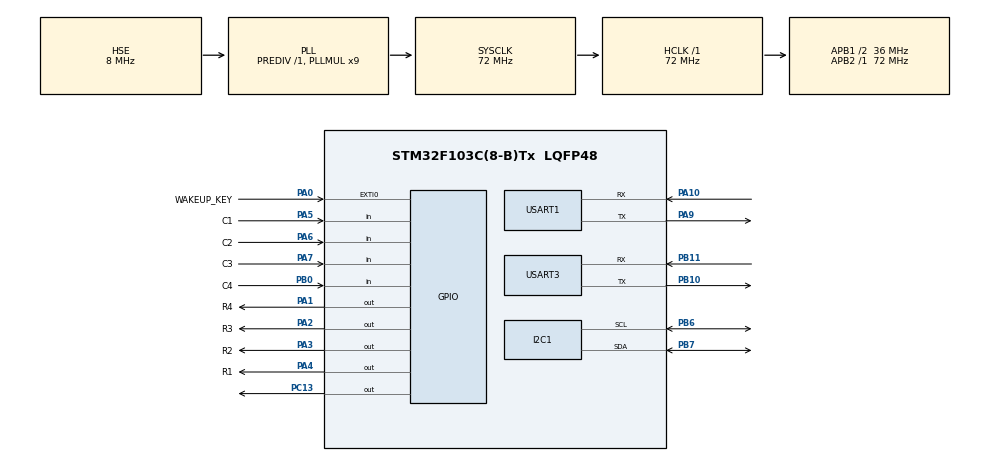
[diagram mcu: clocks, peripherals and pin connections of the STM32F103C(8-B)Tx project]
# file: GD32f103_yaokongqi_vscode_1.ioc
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FREERTOS.Tasks01=defaultTask,24,128,StartDefaultTask,Default,NULL,Dynamic,NULL,NULL
IWDG.Prescaler=IWDG_PRESCALER_32
Mcu.Family=STM32F1
Mcu.Name=STM32F103C(8-B)Tx
Mcu.Package=LQFP48
NVIC.EXTI0_IRQn=true\:5\:0\:false\:false\:true\:true\:true\:true\:true
NVIC.PriorityGroup=NVIC_PRIORITYGROUP_4
NVIC.TIM4_IRQn=true\:15\:0\:false\:false\:true\:false\:false\:true\:true
NVIC.TimeBase=TIM4_IRQn
NVIC.TimeBaseIP=TIM4
PA0-WKUP.GPIO_Label=WAKEUP_KEY
PA0-WKUP.GPIO_PuPd=GPIO_PULLDOWN
PA0-WKUP.Signal=GPXTI0
PA1.GPIO_Label=R4
PA1.Signal=GPIO_Output
PA10.Mode=Asynchronous
PA10.Signal=USART1_RX
PA13.Mode=Serial_Wire
PA13.Signal=SYS_JTMS-SWDIO
PA14.Mode=Serial_Wire
PA14.Signal=SYS_JTCK-SWCLK
PA2.GPIO_Label=R3
PA2.Signal=GPIO_Output
PA3.GPIO_Label=R2
PA3.Signal=GPIO_Output
PA4.GPIO_Label=R1
PA4.Signal=GPIO_Output
PA5.GPIO_Label=C1
PA5.GPIO_PuPd=GPIO_PULLUP
PA5.Signal=GPIO_Input
PA6.GPIO_Label=C2
PA6.GPIO_PuPd=GPIO_PULLUP
PA6.Signal=GPIO_Input
PA7.GPIO_Label=C3
PA7.GPIO_PuPd=GPIO_PULLUP
PA7.Signal=GPIO_Input
PA9.Mode=Asynchronous
PA9.Signal=USART1_TX
PB0.GPIO_Label=C4
PB0.GPIO_PuPd=GPIO_PULLUP
PB0.Signal=GPIO_Input
PB10.Mode=Asynchronous
PB10.Signal=USART3_TX
PB11.Mode=Asynchronous
PB11.Signal=USART3_RX
PB6.Mode=I2C
PB6.Signal=I2C1_SCL
PB7.Mode=I2C
PB7.Signal=I2C1_SDA
PC13-TAMPER-RTC.Signal=GPIO_Output
PC14-OSC32_IN.Mode=LSE-External-Oscillator
PC14-OSC32_IN.Signal=RCC_OSC32_IN
PC15-OSC32_OUT.Mode=LSE-External-Oscillator
PC15-OSC32_OUT.Signal=RCC_OSC32_OUT
PD0-OSC_IN.Mode=HSE-External-Oscillator
PD0-OSC_IN.Signal=RCC_OSC_IN
PD1-OSC_OUT.Mode=HSE-External-Oscillator
PD1-OSC_OUT.Signal=RCC_OSC_OUT
ProjectManager.HeapSize=0x200
ProjectManager.StackSize=0x400
ProjectManager.TargetToolchain=MDK-ARM V5.32
RCC.AHBFreq_Value=72000000
RCC.APB1CLKDivider=RCC_HCLK_DIV2
RCC.APB1Freq_Value=36000000
RCC.APB1TimFreq_Value=72000000
RCC.APB2Freq_Value=72000000
RCC.APB2TimFreq_Value=72000000
RCC.HCLKFreq_Value=72000000
RCC.PLLMUL=RCC_PLL_MUL9
RCC.PLLSourceVirtual=RCC_PLLSOURCE_HSE
RCC.SYSCLKFreq_VALUE=72000000
RCC.SYSCLKSource=RCC_SYSCLKSOURCE_PLLCLK
RCC.USBFreq_Value=72000000
USART1.VirtualMode=VM_ASYNC
USART3.VirtualMode=VM_ASYNC
VP_FREERTOS_VS_CMSIS_V2.Mode=CMSIS_V2
VP_IWDG_VS_IWDG.Mode=IWDG_Activate
VP_SYS_VS_tim4.Mode=TIM4
board=custom

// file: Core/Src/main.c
/* USER CODE BEGIN Header */
/**
  ******************************************************************************
  * @file           : main.c
  * @brief          : Main program body
  ******************************************************************************
  * @attention
  *
  * Copyright (c) 2025 STMicroelectronics.
  * All rights reserved.
  *
  * This software is licensed under terms that can be found in the LICENSE file
  * in the root directory of this software component.
  * If no LICENSE file comes with this software, it is provided AS-IS.
  *
  ******************************************************************************
  */
/* USER CODE END Header */
#include "main.h"
#include "cmsis_os.h"
#include "i2c.h"
#include "iwdg.h"
#include "usart.h"
#include "gpio.h"

/* USER CODE BEGIN Includes */
#include "oled.h"
#include "oledfont.h"
#include "CommManager.h"
#include "drv_SDI.h"
#include "stub_functions.h"
/* USER CODE END Includes */

void SystemClock_Config(void);
void MX_FREERTOS_Init(void);

int main(void)
{

  /* MCU Configuration--------------------------------------------------------*/

  /* Reset of all peripherals, Initializes the Flash interface and the Systick. */
  HAL_Init();

  /* Configure the system clock */
  SystemClock_Config();

  /* Initialize all configured peripherals */
  MX_GPIO_Init();
  MX_I2C1_Init();
  MX_USART1_UART_Init();
  MX_USART3_UART_Init();
  MX_IWDG_Init();

  /* Init scheduler */
  osKernelInitialize();  /* Call init function for freertos objects (in cmsis_os2.c) */
  MX_FREERTOS_Init();

  /* Start scheduler */
  osKernelStart();

  /* We should never get here as control is now taken by the scheduler */

  /* Infinite loop */
  while (1)
  {

  }
}

void SystemClock_Config(void)
{
  RCC_OscInitTypeDef RCC_OscInitStruct = {0};
  RCC_ClkInitTypeDef RCC_ClkInitStruct = {0};

  /** Initializes the RCC Oscillators according to the specified parameters
  * in the RCC_OscInitTypeDef structure.
  */
  RCC_OscInitStruct.OscillatorType = RCC_OSCILLATORTYPE_LSI|RCC_OSCILLATORTYPE_HSE;
  RCC_OscInitStruct.HSEState = RCC_HSE_ON;
  RCC_OscInitStruct.HSEPredivValue = RCC_HSE_PREDIV_DIV1;
  RCC_OscInitStruct.HSIState = RCC_HSI_ON;
  RCC_OscInitStruct.LSIState = RCC_LSI_ON;
  RCC_OscInitStruct.PLL.PLLState = RCC_PLL_ON;
  RCC_OscInitStruct.PLL.PLLSource = RCC_PLLSOURCE_HSE;
  RCC_OscInitStruct.PLL.PLLMUL = RCC_PLL_MUL9;
  if (HAL_RCC_OscConfig(&RCC_OscInitStruct) != HAL_OK)
  {
    Error_Handler();
  }

  /** Initializes the CPU, AHB and APB buses clocks
  */
  RCC_ClkInitStruct.ClockType = RCC_CLOCKTYPE_HCLK|RCC_CLOCKTYPE_SYSCLK
                              |RCC_CLOCKTYPE_PCLK1|RCC_CLOCKTYPE_PCLK2;
  RCC_ClkInitStruct.SYSCLKSource = RCC_SYSCLKSOURCE_PLLCLK;
  RCC_ClkInitStruct.AHBCLKDivider = RCC_SYSCLK_DIV1;
  RCC_ClkInitStruct.APB1CLKDivider = RCC_HCLK_DIV2;
  RCC_ClkInitStruct.APB2CLKDivider = RCC_HCLK_DIV1;

  if (HAL_RCC_ClockConfig(&RCC_ClkInitStruct, FLASH_LATENCY_2) != HAL_OK)
  {
    Error_Handler();
  }
}

void HAL_TIM_PeriodElapsedCallback(TIM_HandleTypeDef *htim)
{
  if (htim->Instance == TIM4)
  {
    HAL_IncTick();
  }
}

void Error_Handler(void)
{
  __disable_irq();
  while (1)
  {
  }
}

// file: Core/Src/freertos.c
/* USER CODE BEGIN Header */
/**
  ******************************************************************************
  * File Name          : freertos.c
  * Description        : Code for freertos applications
  ******************************************************************************
  * @attention
  *
  * Copyright (c) 2025 STMicroelectronics.
  * All rights reserved.
  *
  * This software is licensed under terms that can be found in the LICENSE file
  * in the root directory of this software component.
  * If no LICENSE file comes with this software, it is provided AS-IS.
  *
  ******************************************************************************
  */
/* USER CODE END Header */

#include "FreeRTOS.h"
#include "task.h"
#include "main.h"
#include "cmsis_os.h"
#include <stdint.h>
#include <string.h>

/* USER CODE BEGIN Includes */
#include "keypad.h"
#include "oled.h"
#include "oledfont.h"
#include "CommManager.h"
#include "drv_SDI.h"
#include "usart.h"
#include "iwdg.h"
#include "motor.h"
/* USER CODE END Includes */

/* USER CODE BEGIN PTD */
static int hit=0;// 起飞状态标记：0-未起飞，2-已起飞
uint8_t reciver_date[38]={0};// 接收数据缓冲区

// 低功耗相关全局变量
PowerMode_t currentPowerMode = POWER_MODE_NORMAL;  // 初始为正常模式
uint32_t lastActivityTime = 0;                    // 最后活动时间
bool oledDisplayState = true;                     // OLED显示状态
bool displayContentSaved = false;                 // 显示内容是否已保存
uint32_t lastWakeupCheck = 0;                     // 上次唤醒检查时间
/* USER CODE END PTD */

/* Definitions for defaultTask */
osThreadId_t defaultTaskHandle;
const osThreadAttr_t defaultTask_attributes = {
  .name = "defaultTask",
  .stack_size = 1024,
  .priority = (osPriority_t) osPriorityNormal,
};
osThreadId_t KeypadTaskHandle;
osThreadId_t KeypadTaskHandle;
const osThreadAttr_t KeypadTask_attributes = {
  .name = "KeypadTask",
  .stack_size = 384,
  .priority = (osPriority_t) osPriorityAboveNormal,
};
osThreadId_t SystemTaskHandle;
const osThreadAttr_t SystemTask_attributes = {
  .name = "SystemTask",
  .stack_size = 1024,
  .priority = (osPriority_t) osPriorityNormal,
};
/* USER CODE BEGIN FunctionPrototypes */
void Keypad_Task(void *argument);
void System_Task(void *argument);
void CommManager_Task(void *argument);
// 飞行控制相关函数声明
void SendFlightControlCommand(float roll, float pitch, float yaw, float throttle, uint8_t mode);
void SendPositionCommand(double lat, double lon, float alt, float yaw);
void QueryDroneStatus(void);
void SetFlightMode(uint8_t mode);
void SendControlCommandBasedOnKey(uint8_t key, OperationMode_t mode);
void SendStopCommand(void);
/* USER CODE END FunctionPrototypes */

void StartDefaultTask(void *argument);

void MX_FREERTOS_Init(void); /* (MISRA C 2004 rule 8.1) */

void MX_FREERTOS_Init(void) {

  /* Create the thread(s) */
  /* creation of defaultTask */
  defaultTaskHandle = osThreadNew(StartDefaultTask, NULL, &defaultTask_attributes);

  /* USER CODE BEGIN RTOS_THREADS */
  KeypadTaskHandle = osThreadNew(Keypad_Task, NULL, &KeypadTask_attributes);
  SystemTaskHandle = osThreadNew(System_Task, NULL, &SystemTask_attributes);
//  Mode1TaskHandle = osThreadNew(Mode1_Task, NULL, &Mode1Task_attributes);
//  Mode2TaskHandle = osThreadNew(Mode2_Task, NULL, &Mode2Task_attributes);
//  DisplayTaskHandle = osThreadNew(Display_Task, NULL, &DisplayTask_attributes);
  /* add threads, ... */
  /* USER CODE END RTOS_THREADS */

}

void StartDefaultTask(void *argument)
{
  /* USER CODE BEGIN StartDefaultTask */
  /* Infinite loop */
  for(;;)
  {
    osDelay(1000);
  }
  /* USER CODE END StartDefaultTask */
}

/* USER CODE BEGIN Application */
/**
  * @brief 发送简单命令到无人机
  * @param cmd 命令代码（参考SimpleCommand枚举）
  * @retval None
  */
void SendSimpleCommand(uint8_t cmd)
{
    comm_send_message(MSG_SIMPLE_CMD, &cmd, sizeof(cmd));
}

/**
  * @brief 通信管理任务（预留）
  * @param argument 任务参数
  * @retval None
  */
void CommManager_Task(void *argument)
{
    for(;;) {
        // 通信管理功能预留
        osDelay(10);
    }
}

/**
  * @brief 发送飞行控制命令
  * @param roll 横滚控制量 [-1.0, 1.0]
  * @param pitch 俯仰控制量 [-1.0, 1.0]
  * @param yaw 偏航控制量 [-1.0, 1.0]
  * @param throttle 油门控制量 [0.0, 1.0]
  * @param mode 控制模式
  * @retval None
  */
void SendFlightControlCommand(float roll, float pitch, float yaw, float throttle, uint8_t mode)
{
    FlightControlMsg ctrl_msg;
    ctrl_msg.roll = roll;
    ctrl_msg.pitch = pitch;
    ctrl_msg.yaw = yaw;
    ctrl_msg.throttle = throttle;
    ctrl_msg.mode = mode;
    memset(ctrl_msg.reserved, 0, sizeof(ctrl_msg.reserved));

    comm_send_message(MSG_VIRTUAL_RC, &ctrl_msg, sizeof(ctrl_msg));
}

/**
  * @brief 发送位置控制命令
  * @param lat 目标纬度
  * @param lon 目标经度
  * @param alt 目标高度
  * @param yaw 目标偏航角
  * @retval None
  */
void SendPositionCommand(double lat, double lon, float alt, float yaw)
{
    PositionControlMsg pos_msg;
    pos_msg.lat = lat;
    pos_msg.lon = lon;
    pos_msg.alt = alt;
    pos_msg.yaw = yaw;
    pos_msg.tolerance = 1.0f;

    comm_send_message(MSG_POSITION_CTRL, &pos_msg, sizeof(pos_msg));
}

/**
  * @brief 查询无人机状态
  * @retval None
  */
void QueryDroneStatus(void)
{
    comm_send_message(MSG_QUERY_STATUS, NULL, 0);
}

/**
  * @brief 设置飞行模式
  * @param mode 飞行模式（参考FlightMode枚举）
  * @retval None
  */
void SetFlightMode(uint8_t mode)
{
    comm_send_message(MSG_FLIGHT_MODE, &mode, sizeof(mode));
}

/**
  * @brief 根据按键发送控制命令
  * @param key 按键编码
  * @param mode 当前操作模式
  * @retval None
  */
void SendControlCommandBasedOnKey(uint8_t key, OperationMode_t mode)
{
    float roll = 0, pitch = 0, yaw = 0, throttle = 0.5f;
    uint8_t simple_cmd = 0;

    if(mode == MODE1) {
		// 模式1：上升、下降、左转、右转
        switch(key) {
            case KEY_S2: //上升
                throttle = 0.7f;
                simple_cmd = CMD_UP;
                break;
            case KEY_S6: //下降
                throttle = 0.3f;
                simple_cmd = CMD_DOWN;
                break;
            case KEY_S5: //左转
                yaw = -0.5f;
                simple_cmd = CMD_TURN_LEFT;
                break;
            case KEY_S7: //右转
                yaw = 0.5f;
                simple_cmd = CMD_TURN_RIGHT;
                break;
            default:

                return;// 非动作按键，直接返回
        }
    } else {
		// 模式2：向前、向后、向左、向右
        switch(key) {
            case KEY_S2: //向前
                pitch = 0.5f;
                simple_cmd = CMD_FORWARD;
                break;
            case KEY_S6: //向后
                pitch = -0.5f;
                simple_cmd = CMD_BACKWARD;
                break;
            case KEY_S5: //向左
                roll = -0.5f;
                simple_cmd = CMD_LEFT_FORWARD;
                break;
            case KEY_S7: //向右
                roll = 0.5f;
                simple_cmd = CMD_RIGHT_FORWARD;
                break;
            default:

                return;// 非动作按键，直接返回
        }
    }

    // 发送飞行控制命令
    SendFlightControlCommand(roll, pitch, yaw, throttle, mode);

     // 发送简单命令（用于状态同步）
    if (simple_cmd != 0) {
        SendSimpleCommand(simple_cmd);
    }
}

/**
  * @brief 发送停止命令
  * @retval None
  */
void SendStopCommand(void)
{
    SendFlightControlCommand(0, 0, 0, 0.5f, currentMode);
}

/**
  * @brief 清除动作显示区域
  * @retval None
  */
void ClearActionDisplayArea(void)
{
	// 清除OLED中间区域（页2-7，列0-95），保留顶部状态栏和右侧信息栏
    for(uint8_t page = 2; page < 8; page++) {
        OLED_Set_Pos(0, page);
        for(uint8_t col = 0; col < 96; col++) {
            OLED_WR_DATA(0x00);
        }
    }
}

/**
  * @brief 显示当前动作和发送控制指令
  * @param key 按键编码
  * @param mode 当前操作模式
  * @retval None
  */
void DisplayAction(uint8_t key, OperationMode_t mode)
{
    if(mode == MODE1) {
		// 模式1：基础飞行控制
        switch(key) {
            case KEY_S2: // 上升（首次按下为起飞，之后为上升）
                OLED_ShowIcon(52, 4, Takeoff, 16, 32, 0);     // 显示起飞图标
                OLED_ShowChinese16x16(46, 2, 0, 0);          // 显示"上"
                OLED_ShowChinese16x16(62, 2, 4, 0);          // 显示"升"
				if(hit==0){
				// 首次按下：起飞阶段
                Motor_Takeoff_Ascend_Torque();            // 启动电机放线
                // 发送起飞指令序列
				for(int i=0;i<5;i++){
				osDelay(5);
				protocol_send_acfly_message(1008,
											0,0,0,0,
											0,0,100,0,
											0,0,0,0);}
				hit=2;}// 标记为已起飞状态
				else
				{
                 // 后续按下：上升阶段
                 Motor_Takeoff_Ascend_Torque();            // 继续放线
                 // 发送上升指令序列
				for(int i=0;i<5;i++){
				osDelay(5);
				protocol_send_acfly_message(1020,
											0,0,50,0,
											0,0,5,0,
											0,0,0,0);}
				}
                break;
            case KEY_S6: // 下降
                OLED_ShowIcon(52, 4, Landfall, 16, 32, 0);    // 显示降落图标
                OLED_ShowChinese16x16(46, 2, 1, 0);          // 显示"下"
                OLED_ShowChinese16x16(62, 2, 5, 0);          // 显示"降"
                Motor_Descend_Land_Torque();                  // 启动电机收线
                // 发送下降指令序列
				for(int i=0;i<5;i++){
				osDelay(5);
				protocol_send_acfly_message(1020,
											0,0,-50,0,
											5,5,5,5,
											0,0,0,0);}
                break;
            case KEY_S5: // 左转
                OLED_ShowIcon(48, 4, Turnleft, 32, 16, 0);    // 显示左转图标
                OLED_ShowChinese16x16(46, 2, 2, 0);          // 显示"左"
                OLED_ShowChinese16x16(62, 2, 6, 0);          // 显示"转"
                Motor_Horizontal_Torque();                    // 水平移动张力控制
                // 发送左转指令序列
				for(int i=0;i<5;i++){
				osDelay(5);
				protocol_send_acfly_message(1030,
											0,0,0,25,
											0,0,0,0,
											0,0,0,0);}
                break;
            case KEY_S7: // 右转
                OLED_ShowIcon(54, 3, Turnright, 16, 32, 0);   // 显示右转图标
                OLED_ShowChinese16x16(46, 2, 3, 0);          // 显示"右"
                OLED_ShowChinese16x16(62, 2, 6, 0);          // 显示"转"
                Motor_Horizontal_Torque();                    // 水平移动张力控制
                // 发送右转指令序列
				for(int i=0;i<5;i++){
				osDelay(5);
				protocol_send_acfly_message(1030,
											0,0,0,-20,
											0,0,0,0,
											0,0,0,0);}
                break;
        }
    } else {
		// 模式2：平移控制
        switch(key) {
            case KEY_S2: // 向前
                OLED_ShowIcon(52, 4, Forward, 16, 32, 0);     // 显示向前图标
                OLED_ShowChinese16x16(46, 2, 9, 0);          // 显示"向"
                OLED_ShowChinese16x16(62, 2, 7, 0);          // 显示"前"
                Motor_Horizontal_Torque();                    // 水平移动张力控制
                // 发送向前指令序列
				for(int i=0;i<5;i++){
				osDelay(5);
				protocol_send_acfly_message(1024,
											0,-50,0,0,
											5,5,0,0,
											0,0,0,0);}
                break;
            case KEY_S6: // 向后
				OLED_ShowIcon(52, 4, Backward, 16, 32, 0);    // 显示向后图标
                OLED_ShowChinese16x16(46, 2, 9, 0);          // 显示"向"
                OLED_ShowChinese16x16(62, 2, 8, 0);          // 显示"后"
                Motor_Horizontal_Torque();                    // 水平移动张力控制
                // 发送向后指令序列
				for(int i=0;i<5;i++){
				osDelay(5);
				protocol_send_acfly_message(1024,
											0,50,0,0,
											5,5,0,0,
											0,0,0,0);}
                break;
            case KEY_S5: // 向左
                OLED_ShowIcon(44, 4, Toleft, 32, 16, 0);     // 显示向左图标
                OLED_ShowChinese16x16(46, 2, 9, 0);          // 显示"向"
                OLED_ShowChinese16x16(62, 2, 2, 0);          // 显示"左"
                Motor_Horizontal_Torque();                    // 水平移动张力控制
                // 发送向左指令序列
				for(int i=0;i<5;i++){
				osDelay(5);
				protocol_send_acfly_message(1024,
											50,0,0,0,
											5,5,0,0,
											0,0,0,0);}
                break;
            case KEY_S7: // 向右
                OLED_ShowIcon(44, 4, Toright, 32, 16, 0);    // 显示向右图标
                OLED_ShowChinese16x16(46, 2, 9, 0);          // 显示"向"
                OLED_ShowChinese16x16(62, 2, 3, 0);          // 显示"右"
                Motor_Horizontal_Torque();                    // 水平移动张力控制
			    // 发送向右指令序列
				for(int i=0;i<5;i++){
				osDelay(5);
				protocol_send_acfly_message(1024,
											-50,0,0,0,
											5,5,0,0,
											0,0,0,0);}
                break;
        }
    }
}

/**
  * @brief 处理模式切换
  * @retval None
  */
void HandleModeSwitch(void)
{
    // 切换操作模式
    currentMode = (currentMode == MODE1) ? MODE2 : MODE1;
    OLED_Clear();  // 清屏重新绘制

     // 重新绘制所有静态内容
    if(currentMode == MODE1)
		{
		// 显示"模式一"
        OLED_ShowChinese16x16(0, 0, 10, 0);  // "模"
        OLED_ShowChinese16x16(16, 0, 11, 0); // "式"
        OLED_ShowChinese16x16(32, 0, 12, 0); // "一"

		}
	else{
		// 显示"模式二"
        OLED_ShowChinese16x16(0, 0, 10, 0);  // "模"
        OLED_ShowChinese16x16(16, 0, 11, 0); // "式"
        OLED_ShowChinese16x16(32, 0, 13, 0); // "二"

		}

	// 显示锁定状态图标
    if(lockStatus == LOCKED) {
        OLED_ShowIcon(54, 0, Lock, 16, 16, 0);      // 显示锁定图标
    } else {
        OLED_ShowIcon(54, 0, Unlock, 16, 16, 0);    // 显示解锁图标
    }

    // 重新显示信号和连接状态
    OLED_ShowIcon(94, 0, SignalIcon, 16, 16, 0);  // 信号图标
    OLED_ShowChar(110, 0, ':', 16, 0);            // 分隔符
    UpdateSignalDisplay();                         // 更新信号强度显示
    UpdateConnectionDisplay();                     // 更新连接状态显示

	// 发送模式切换完成命令
    SendSimpleCommand(CMD_MODE_SWITCH_COMPLETE);

    // 设置飞行模式
    SetFlightMode(currentMode);
}

/**
  * @brief 处理锁定/解锁切换
  * @retval None
  */
void HandleLockToggle(void)
{
    // 保存旧状态用于比较
    LockStatus_t oldLockStatus = lockStatus;

	// 切换锁定状态
    lockStatus = (lockStatus == LOCKED) ? UNLOCKED : LOCKED;

    if(lockStatus == LOCKED) {
		// 锁定状态
        OLED_ShowIcon(54, 0, Lock, 16, 16, 0);  // 显示锁定图标
        SendStopCommand();                        // 发送停止命令
        Motor_Stop();                             // 停止电机

        if (oldLockStatus == UNLOCKED) {
		// 从解锁状态切换到锁定，发送锁定指令序列
		for(int i=0;i<5;i++){
				osDelay(5);
				protocol_send_acfly_message(1100,
											0,0,0,0,
											0,0,0,0,
											0,0,0,0);}
//		HAL_UART_Transmit(&huart3,&d,1,5);
        }
    } else {
        // 解锁状态
        OLED_ShowIcon(54, 0, Unlock, 16, 16, 0);  // 显示解锁图标
        Motor_Enable();                             // 使能电机
        SendSimpleCommand(CMD_UNLOCK_COMPLETE);     // 发送解锁完成命令

        if (oldLockStatus == LOCKED) {

			// 从锁定状态切换到解锁，设置默认力矩
            Motor_Horizontal_Torque();  // 水平移动张力控制

        }
    }
}

/**
  * @brief 连续动作管理结构体
  */
typedef struct {
    uint8_t active_key;          // 当前激活的按键
    TickType_t last_send_time;   // 上次发送时间
    bool is_active;              // 是否处于激活状态
} ContinuousActionManager;

// 连续动作管理器实例
static ContinuousActionManager action_mgr = {NO_KEY, 0, false};

/**
  * @brief 处理连续动作（预留功能）
  * @param currentTime 当前系统时间
  * @retval None
  */
void HandleContinuousAction(TickType_t currentTime)
{
    if (!action_mgr.is_active || action_mgr.active_key == NO_KEY) {
        return;// 没有激活的连续动作
    }

     // 每秒发送一次控制命令（连续动作模式）
    if (currentTime - action_mgr.last_send_time >= 1000) {

        SendControlCommandBasedOnKey(action_mgr.active_key, currentMode);
        action_mgr.last_send_time = currentTime;
    }
}

/**
  * @brief 系统主任务 - 集成显示、通信、控制、低功耗功能
  * @param argument 任务参数
  * @retval None
  */
void System_Task(void *argument)
{
     uint8_t currentKey;                    // 当前扫描到的按键
    uint32_t currentTime;                  // 当前系统时间
    uint8_t pressedActionKey = NO_KEY;     // 当前按下的动作键
    uint32_t lastSignalUpdate = 0;         // 上次信号更新时间
    uint32_t lastConnectionCheck = 0;      // 上次连接检查时间
    uint32_t lastOLEDKeepAlive = 0;        // 上次OLED保活时间
    uint8_t oledRefreshCounter = 0;        // OLED刷新计数器
    uint32_t lastFeedDog = 0;              // 上次喂狗时间

    // 硬件初始化
    Keypad_Init();    // 初始化键盘
    OLED_Init();      // 初始化OLED显示屏
    OLED_Clear();     // 清屏

    // 初始化静态显示内容
    // 显示模式标识（左上角）
    OLED_ShowChinese16x16(0, 0, 10, 0);  // "模"
    OLED_ShowChinese16x16(16, 0, 11, 0); // "式"
    OLED_ShowChinese16x16(32, 0, 12, 0); // "一"（初始为模式一）

    // 显示锁定状态（中间顶部）
    OLED_ShowIcon(54, 0, Lock, 16, 16, 0);

    // 信号强度显示（右上角）
    OLED_ShowIcon(94, 0, SignalIcon, 16, 16, 0);  // 信号图标
    OLED_ShowChar(110, 0, ':', 16, 0);            // 分隔符

//    // 高度显示（信号图标下方）
//    OLED_ShowChar(98, 2, 'H', 16, 0);
//    OLED_ShowChar(106, 2, ':', 16, 0);

     // 初始化系统状态
    signalStrength = 0;                    // 初始信号强度为0
    droneConnection = DISCONNECTED;        // 初始未连接状态
    UpdateSignalDisplay();                 // 更新信号强度显示
    UpdateConnectionDisplay();             // 更新连接状态显示

    // 初始化按键状态数组
    KeyState_t keyStates[16];
    for(int i = 0; i < 16; i++) {
        keyStates[i].currentState = 1;     // 初始状态为释放
        keyStates[i].lastState = 1;        // 上次状态为释放
        keyStates[i].pressStartTime = 0;   // 按下开始时间
        keyStates[i].longPressSent = 0;    // 长按事件发送标志
    }

    for(;;) {
        // 键盘扫描
        currentKey = Keypad_Scan();
        currentTime = osKernelGetTickCount();

		// 检查是否需要进入低功耗模式
        if (currentPowerMode == POWER_MODE_NORMAL) {
            if (CheckPowerSaveTimeout()) {
                EnterPowerSaveMode();
            }
        }

		// 每1秒喂一次看门狗
        if((currentTime - lastFeedDog) > 1000) {
            HAL_IWDG_Refresh(&hiwdg);
            lastFeedDog = currentTime;
        }

			// 处理按键状态（在正常模式下）
			if (currentPowerMode == POWER_MODE_NORMAL) {

				// 处理按键状态
				for(int i = 0; i < 16; i++) {
					keyStates[i].lastState = keyStates[i].currentState;
					keyStates[i].currentState = (currentKey == i) ? 0 : 1;

					// 按键按下
					if(keyStates[i].currentState == 0 && keyStates[i].lastState == 1) {
						keyStates[i].pressStartTime = currentTime;
						keyStates[i].longPressSent = 0;

						// 处理动作按键按下
						if((i == KEY_S2 || i == KEY_S6 || i == KEY_S5 || i == KEY_S7) &&
						   lockStatus == UNLOCKED) {
							// 只有在解锁状态下才处理动作按键
							pressedActionKey = i;  // 记录当前按下的动作键

							// 清除动作显示区域（只清除中间区域，保留顶部和右侧状态栏）
							ClearActionDisplayArea();

							// 显示当前按下的动作
							DisplayAction(i, currentMode);

						}
					}

					// 按键释放
					if(keyStates[i].currentState == 1 && keyStates[i].lastState == 0) {
						// 如果是动作按键释放
						if(i == KEY_S2 || i == KEY_S6 || i == KEY_S5 || i == KEY_S7) {
							// 检查是否还有其他动作键按下
							uint8_t anyActionKeyPressed = 0;
							for(int j = 0; j < 16; j++) {
								if((j == KEY_S2 || j == KEY_S6 || j == KEY_S5 || j == KEY_S7) &&
								   keyStates[j].currentState == 0) {
									anyActionKeyPressed = 1;
									pressedActionKey = j;  // 更新为其他按下的键
									break;
								}
							}

							if(!anyActionKeyPressed) {
								// 没有其他动作键按下，清除显示
								ClearActionDisplayArea();
								pressedActionKey = NO_KEY;
							} else {
								// 有其他动作键按下，更新显示
								ClearActionDisplayArea();
								DisplayAction(pressedActionKey, currentMode);
							}
						}
					}

					// 长按检测（2秒）
					if(keyStates[i].currentState == 0 && !keyStates[i].longPressSent) {
						if((currentTime - keyStates[i].pressStartTime) >= LONG_PRESS_TIME) {
							// 长按S1：模式切换
							if(i == KEY_S1) {
								HandleModeSwitch();
							}
							// 长按S4：锁定/解锁切换
							else if(i == KEY_S4) {
								HandleLockToggle();
							}
							keyStates[i].longPressSent = 1;// 标记长按事件已处理
						}
					}
				}

				// 定期更新信号和连接状态（频率降低，避免闪烁）
				if((currentTime - lastSignalUpdate) > 5000) { // 5秒更新一次
					signalStrength = 80 + (osKernelGetTickCount() % 20);
					UpdateSignalDisplay();
					lastSignalUpdate = currentTime;
				}

				if((currentTime - lastConnectionCheck) > 7000) { // 7秒检查一次
					// 模拟连接状态变化
					ConnectionStatus_t oldStatus = droneConnection;
					droneConnection = (osKernelGetTickCount() % 10 < 8) ? CONNECTED : DISCONNECTED;

					if(oldStatus != droneConnection) {
						UpdateConnectionDisplay();
					}
					lastConnectionCheck = currentTime;
				}

				// OLED保持活跃处理（30秒轻微刷新一次，防止OLED烧屏）
				if((currentTime - lastOLEDKeepAlive) > 30000) {
					// 轻微调整对比度来保持OLED活跃
					OLED_IntensityControl(0x7F + (oledRefreshCounter % 2));
					oledRefreshCounter++;
					lastOLEDKeepAlive = currentTime;
				}

		}

	// 在睡眠模式下，只进行最基本的处理
        else if (currentPowerMode == POWER_MODE_SLEEP) {
            // 睡眠模式下只检查唤醒按键和喂狗
            // 其他功能暂停以节省功耗
        }

		// 任务延时10ms，保持100Hz的处理频率
        osDelay(10);
    }
}

/**
  * @brief 更新连接状态显示
  * @retval None
  */
void UpdateConnectionDisplay(void)
{
    if(droneConnection == DISCONNECTED) {
        // 未连接状态：显示遥控器图标和X标记
        OLED_ShowIcon(96, 4, RemoteIcon, 16, 32, 0);// 遥控器图标
        OLED_ShowChar(116, 6, 'X', 16, 0);// X标记
    } else {
        // 连接状态下，清除连接状态显示区域
        // 清除区域：x:96-127, y:4-7 (32像素高))
        for(uint8_t page = 4; page < 8; page++) {
            OLED_Set_Pos(96, page);
            for(uint8_t col = 0; col < 32; col++) {
                OLED_WR_DATA(0x00);// 写入0清空像素
            }
        }
    }
}

/**
  * @brief 更新信号强度显示
  * @retval None
  */
void UpdateSignalDisplay(void)
{
   // 清除信号强度数字显示区域 (x: 112-127, y: 0-1)
    for(uint8_t page = 0; page < 2; page++) {
        OLED_Set_Pos(112, page);
        for(uint8_t col = 0; col < 16; col++) {
            OLED_WR_DATA(0x00);
        }
    }

    // 显示信号强度数值
    OLED_ShowNum(112, 0, signalStrength, 2, 16, 0);
}

/**
  * @brief 键盘任务（预留功能）
  * @param argument 任务参数
  * @retval None
  */
void Keypad_Task(void *argument)
{
    // 键盘初始化（已在System_Task中初始化，此处为冗余）
    Keypad_Init();

    for(;;)
    {
		// 键盘扫描功能已移至System_Task，此处任务保持活跃
        osDelay(50);
    }
}

/**
  * @brief 更新活动时间（重置无操作计时器）
  * @retval None
  */
void UpdateActivityTime(void)
{
    lastActivityTime = osKernelGetTickCount();
}

/**
  * @brief 检查是否达到低功耗超时时间
  * @return bool true-需要进入低功耗，false-保持正常模式
  */
bool CheckPowerSaveTimeout(void)
{
    uint32_t currentTime = osKernelGetTickCount();
    return ((currentTime - lastActivityTime) >= POWER_SAVE_TIMEOUT);
}

/**
  * @brief 进入省电模式（OLED息屏）
  * @retval None
  */
void EnterPowerSaveMode(void)
{
    if (currentPowerMode == POWER_MODE_NORMAL) {
        // 保存当前显示状态
        OLED_SaveDisplayState();

        // 关闭OLED显示
        OLED_SleepMode_Enter();

        // 更新电源模式状态
        currentPowerMode = POWER_MODE_SLEEP;
        oledDisplayState = false;

    }
}

/**
  * @brief 退出省电模式（OLED亮屏）
  * @retval None
  */
void ExitPowerSaveMode(void)
{
    if (currentPowerMode == POWER_MODE_SLEEP) {
        // 恢复OLED显示
        OLED_SleepMode_Exit();

        // 恢复显示内容
        OLED_RestoreDisplayState();

        // 更新电源模式状态
        currentPowerMode = POWER_MODE_NORMAL;
        oledDisplayState = true;

        // 重置活动时间
        UpdateActivityTime();

    }
}

/**
  * @brief 唤醒中断处理函数
  * @retval None
  */
void HandleWakeupInterrupt(void)
{
    static uint32_t lastWakeupTime = 0;
    uint32_t currentTime = osKernelGetTickCount();

    // 消抖处理
    if ((currentTime - lastWakeupTime) > POWER_WAKEUP_DEBOUNCE) {
        // 退出省电模式
        ExitPowerSaveMode();

        lastWakeupTime = currentTime;
    }
}

/* USER CODE END Application */
